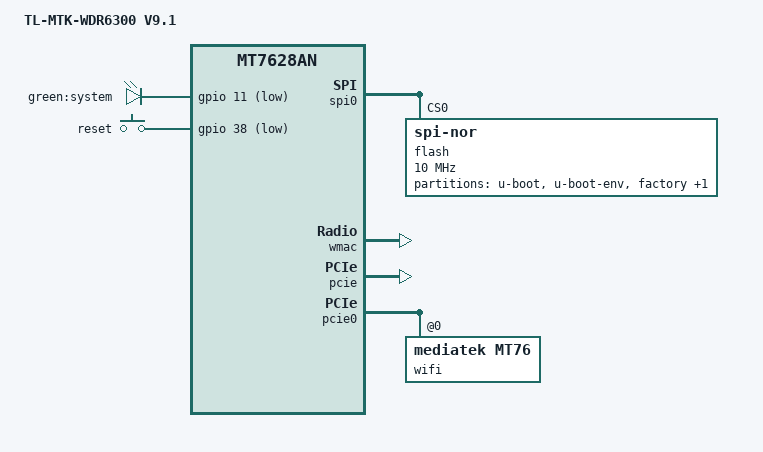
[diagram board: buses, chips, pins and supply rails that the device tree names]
// SPDX-License-Identifier: GPL-2.0-or-later OR MIT

#include "mt7628an.dtsi"

#include <dt-bindings/gpio/gpio.h>
#include <dt-bindings/input/input.h>

/{
	compatible = "tplink,tl-mtk-wdr6300-v9.1", "tplink,tl-mtk-wdr6300-v7", "mediatek,mt7628an-soc";
	model = "TL-MTK-WDR6300 V9.1";

	aliases {
		led-boot = &led_power;
		led-failsafe = &led_power;
		led-running = &led_power;
		led-upgrade = &led_power;
		label-mac-device = &ethernet;
	};

	chosen {
		bootargs = "console=ttyS0,57600";
	};

	leds {
		compatible = "gpio-leds";

		led_power: system {
			label = "green:system";
			gpios = <&gpio 11 GPIO_ACTIVE_LOW>;
		};
	};

	keys {
		compatible = "gpio-keys";

		reset {
			label = "reset";
			gpios = <&gpio 38 GPIO_ACTIVE_LOW>;
			linux,code = <KEY_RESTART>;
		};
	};
};

&state_default {
	gpio {
		groups = "wdt", "gpio";
		function = "gpio";
	};
};

&spi0 {
	status = "okay";

	flash@0 {
		compatible = "jedec,spi-nor";
		reg = <0>;
		spi-max-frequency = <10000000>;

		partitions {
			compatible = "fixed-partitions";
			#address-cells = <1>;
			#size-cells = <1>;

			partition@0 {
				label = "u-boot";
				reg = <0x0 0x30000>;
				read-only;
			};

			partition@30000 {
				label = "u-boot-env";
				reg = <0x30000 0x10000>;
				read-only;
			};

			factory: partition@40000 {
				label = "factory";
				reg = <0x40000 0x10000>;
				read-only;
			};

			partition@50000 {
				compatible = "denx,uimage";
				label = "firmware";
				reg = <0x50000 0xfb0000>;
			};
		};
	};
};

&ethernet {
	mtd-mac-address = <&factory 0x28>;
};

&wmac {
	status = "okay";
	mediatek,mtd-eeprom = <&factory 0x0>;
	mtd-mac-address = <&factory 0x28>;
};

&pcie {
	status = "okay";
};

&pcie0 {
	wifi@0,0 {
		compatible = "mediatek,mt76";
		reg = <0x0000 0 0 0 0>;
		mediatek,mtd-eeprom = <&factory 0x8000>;
		ieee80211-freq-limit = <5000000 6000000>;
	};
};
